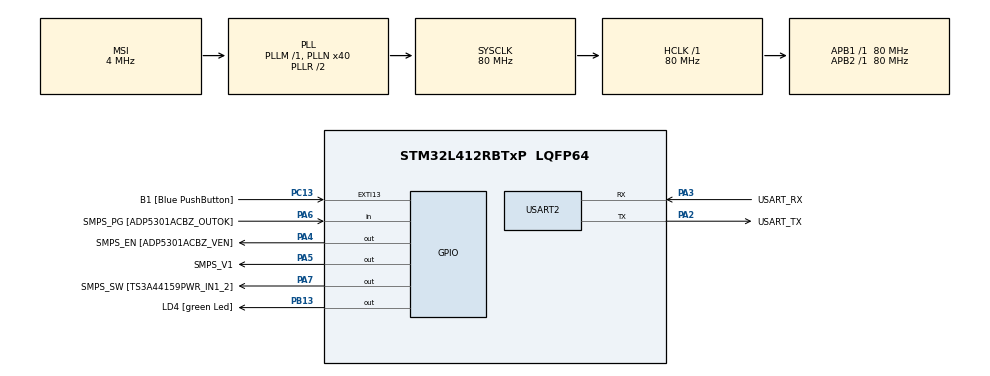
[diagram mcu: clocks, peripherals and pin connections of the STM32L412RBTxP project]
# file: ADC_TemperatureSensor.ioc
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ADC1.Channel-2\#ChannelRegularConversion=ADC_CHANNEL_TEMPSENSOR
ADC1.ContinuousConvMode=ENABLE
ADC1.NbrOfConversionFlag=1
ADC1.OffsetNumber-2\#ChannelRegularConversion=ADC_OFFSET_NONE
ADC1.Rank-2\#ChannelRegularConversion=1
ADC1.SamplingTime-2\#ChannelRegularConversion=ADC_SAMPLETIME_12CYCLES_5
ADC1.master=1
Mcu.Family=STM32L4
Mcu.Name=STM32L412RBTxP
Mcu.Package=LQFP64
NVIC.PriorityGroup=NVIC_PRIORITYGROUP_4
PA13\ (JTMS/SWDIO).GPIO_Label=TMS
PA13\ (JTMS/SWDIO).Mode=Serial_Wire
PA13\ (JTMS/SWDIO).Signal=SYS_JTMS-SWDIO
PA14\ (JTCK/SWCLK).GPIO_Label=TCK
PA14\ (JTCK/SWCLK).Mode=Serial_Wire
PA14\ (JTCK/SWCLK).Signal=SYS_JTCK-SWCLK
PA2.GPIO_Label=USART_TX
PA2.GPIO_PuPd=GPIO_NOPULL
PA2.GPIO_Speed=GPIO_SPEED_FREQ_VERY_HIGH
PA2.Mode=Asynchronous
PA2.Signal=USART2_TX
PA3.GPIO_Label=USART_RX
PA3.GPIO_PuPd=GPIO_NOPULL
PA3.GPIO_Speed=GPIO_SPEED_FREQ_VERY_HIGH
PA3.Mode=Asynchronous
PA3.Signal=USART2_RX
PA4.GPIO_Label=SMPS_EN [ADP5301ACBZ_VEN]
PA4.Signal=GPIO_Output
PA5.GPIO_Label=SMPS_V1
PA5.GPIO_ModeDefaultOutputPP=GPIO_MODE_OUTPUT_PP
PA5.GPIO_PuPd=GPIO_NOPULL
PA5.GPIO_Speed=GPIO_SPEED_FREQ_LOW
PA5.Signal=GPIO_Output
PA6.GPIO_Label=SMPS_PG [ADP5301ACBZ_OUTOK]
PA6.GPIO_PuPd=GPIO_PULLUP
PA6.Signal=GPIO_Input
PA7.GPIO_Label=SMPS_SW [TS3A44159PWR_IN1_2]
PA7.Signal=GPIO_Output
PB13.GPIO_Label=LD4 [green Led]
PB13.Signal=GPIO_Output
PB3\ (JTDO/TRACESWO).GPIO_Label=SWO
PB3\ (JTDO/TRACESWO).Signal=SYS_JTDO-SWO
PC13.GPIO_Label=B1 [Blue PushButton]
PC13.GPIO_ModeDefaultEXTI=GPIO_MODE_IT_FALLING
PC13.GPIO_PuPd=GPIO_NOPULL
PC13.Signal=GPXTI13
PC14-OSC32_IN\ (PC14).Signal=RCC_OSC32_IN
PC15-OSC32_OUT\ (PC15).Signal=RCC_OSC32_OUT
PH0-OSC_IN\ (PH0).GPIO_Label=MCO
PH0-OSC_IN\ (PH0).Signal=RCC_OSC_IN
PH1-OSC_OUT\ (PH1).Signal=RCC_OSC_OUT
ProjectManager.HeapSize=0x200
ProjectManager.StackSize=0x400
ProjectManager.TargetToolchain=STM32CubeIDE
RCC.ADCFreq_Value=80000000
RCC.AHBFreq_Value=80000000
RCC.APB1Freq_Value=80000000
RCC.APB1TimFreq_Value=80000000
RCC.APB2Freq_Value=80000000
RCC.APB2TimFreq_Value=80000000
RCC.CortexFreq_Value=80000000
RCC.FLatency=FLASH_LATENCY_4
RCC.HCLKFreq_Value=80000000
RCC.HSE_VALUE=8000000
RCC.HSI48_VALUE=48000000
RCC.HSICalibrationValue=16
RCC.HSI_VALUE=16000000
RCC.MSIAutoCalibration=DISABLED
RCC.MSI_VALUE=4000000
RCC.PLLN=40
RCC.PREFETCH_ENABLE=1
RCC.SYSCLKFreq_VALUE=80000000
RCC.SYSCLKSource=RCC_SYSCLKSOURCE_PLLCLK
RCC.USBFreq_Value=4000000
RCC.VCOOutputFreq_Value=160000000
USART2.VirtualMode-Asynchronous=VM_ASYNC
VP_ADC1_TempSens_Input.Mode=IN-TempSens
board=NUCLEO-L412RB-P

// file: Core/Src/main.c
/* USER CODE BEGIN Header */
/**
  ******************************************************************************
  * @file           : main.c
  * @brief          : Main program body
  ******************************************************************************
  * @attention
  *
  * <h2><center>&copy; Copyright (c) 2021 STMicroelectronics.
  * All rights reserved.</center></h2>
  *
  * This software component is licensed by ST under BSD 3-Clause license,
  * the "License"; You may not use this file except in compliance with the
  * License. You may obtain a copy of the License at:
  *                        opensource.org/licenses/BSD-3-Clause
  *
  ******************************************************************************
  */
/* USER CODE END Header */
#include "main.h"
#include "adc.h"
#include "usart.h"
#include "gpio.h"

/* USER CODE BEGIN Includes */
#include <stdio.h>

/* USER CODE END Includes */

/* USER CODE BEGIN PV */
const float AVG_SLOPE = 2.5E-03;
const float V30 = 0.76;
const float ADC_TO_VOLT = 3.3/4096;

/* USER CODE END PV */

void SystemClock_Config(void);

/* USER CODE BEGIN 0 */
#ifdef __GNUC__
    #define PUTCHAR_PROTOTYPE int __io_putchar(int ch)
#else
    #define PUTCHAR_PROTOTYPE int fputc(int ch, FILE *f)
#endif

PUTCHAR_PROTOTYPE
{
  if (ch == '\n')
	  HAL_UART_Transmit(&huart2, (uint8_t *) "\r", 1, 0xFFFF);
	HAL_UART_Transmit(&huart2, (uint8_t *)&ch, 1, 0xFFFF);
  return ch;
}
/* USER CODE END 0 */

int main(void)
{

  /* MCU Configuration--------------------------------------------------------*/

  /* Reset of all peripherals, Initializes the Flash interface and the Systick. */
  HAL_Init();

  /* Configure the system clock */
  SystemClock_Config();

  /* Initialize all configured peripherals */
  MX_GPIO_Init();
  MX_USART2_UART_Init();
  MX_ADC1_Init();

  /* Infinite loop */
  /* USER CODE BEGIN WHILE */

  /* start calibration */
  if (HAL_ADCEx_Calibration_Start(&hadc1, ADC_SINGLE_ENDED) != HAL_OK)
  {
	  Error_Handler();
  }
  /* start the conversion process */
  if (HAL_ADC_Start(&hadc1) != HAL_OK)
  {
	  Error_Handler();
  }

  uint16_t adc1;

  float vSense, temp;
  printf("STM on!! \r\n");
  while (1)
  {
    HAL_ADC_PollForConversion(&hadc1, 100);
    adc1 = HAL_ADC_GetValue(&hadc1);
    //printf("ADC1_Temperature : %d \n", adc1);

    vSense = adc1 * ADC_TO_VOLT;
//    temp = (uint16_t)(V30-vSense) / AVG_SLOPE + 25.0;
    printf("Sense : %f \r\n", vSense);
    temp = (uint16_t)(((V30 * 1000.0 - (float)vSense * 0.8) / AVG_SLOPE) + 25.0);
    printf("ADC1, Temp : %d , %f \n", adc1, temp);
	  /* USER CODE END WHILE */

    /* USER CODE BEGIN 3 */
    HAL_Delay(100);
  }
  /* USER CODE END 3 */
}

void SystemClock_Config(void)
{
  RCC_OscInitTypeDef RCC_OscInitStruct = {0};
  RCC_ClkInitTypeDef RCC_ClkInitStruct = {0};
  RCC_PeriphCLKInitTypeDef PeriphClkInit = {0};

  /** Configure the main internal regulator output voltage
  */
  if (HAL_PWREx_ControlVoltageScaling(PWR_REGULATOR_VOLTAGE_SCALE1) != HAL_OK)
  {
    Error_Handler();
  }
  /** Initializes the RCC Oscillators according to the specified parameters
  * in the RCC_OscInitTypeDef structure.
  */
  RCC_OscInitStruct.OscillatorType = RCC_OSCILLATORTYPE_MSI;
  RCC_OscInitStruct.MSIState = RCC_MSI_ON;
  RCC_OscInitStruct.MSICalibrationValue = 0;
  RCC_OscInitStruct.MSIClockRange = RCC_MSIRANGE_6;
  RCC_OscInitStruct.PLL.PLLState = RCC_PLL_ON;
  RCC_OscInitStruct.PLL.PLLSource = RCC_PLLSOURCE_MSI;
  RCC_OscInitStruct.PLL.PLLM = 1;
  RCC_OscInitStruct.PLL.PLLN = 40;
  RCC_OscInitStruct.PLL.PLLQ = RCC_PLLQ_DIV2;
  RCC_OscInitStruct.PLL.PLLR = RCC_PLLR_DIV2;
  if (HAL_RCC_OscConfig(&RCC_OscInitStruct) != HAL_OK)
  {
    Error_Handler();
  }
  /** Initializes the CPU, AHB and APB buses clocks
  */
  RCC_ClkInitStruct.ClockType = RCC_CLOCKTYPE_HCLK|RCC_CLOCKTYPE_SYSCLK
                              |RCC_CLOCKTYPE_PCLK1|RCC_CLOCKTYPE_PCLK2;
  RCC_ClkInitStruct.SYSCLKSource = RCC_SYSCLKSOURCE_PLLCLK;
  RCC_ClkInitStruct.AHBCLKDivider = RCC_SYSCLK_DIV1;
  RCC_ClkInitStruct.APB1CLKDivider = RCC_HCLK_DIV1;
  RCC_ClkInitStruct.APB2CLKDivider = RCC_HCLK_DIV1;

  if (HAL_RCC_ClockConfig(&RCC_ClkInitStruct, FLASH_LATENCY_4) != HAL_OK)
  {
    Error_Handler();
  }
  PeriphClkInit.PeriphClockSelection = RCC_PERIPHCLK_USART2|RCC_PERIPHCLK_ADC;
  PeriphClkInit.Usart2ClockSelection = RCC_USART2CLKSOURCE_PCLK1;
  if (HAL_RCCEx_PeriphCLKConfig(&PeriphClkInit) != HAL_OK)
  {
    Error_Handler();
  }
}

void Error_Handler(void)
{
  __disable_irq();
  while (1)
  {
  }
}

/************************ (C) COPYRIGHT STMicroelectronics *****END OF FILE****/
